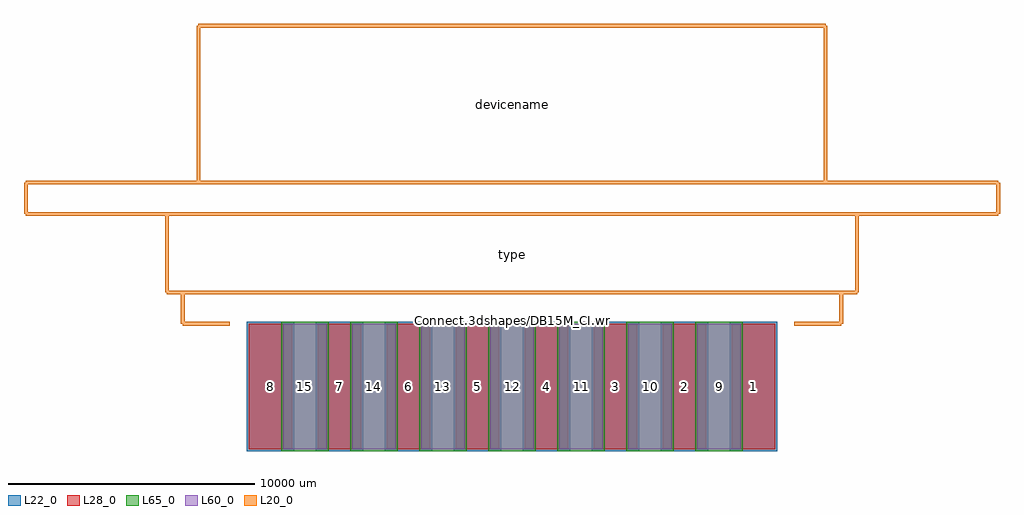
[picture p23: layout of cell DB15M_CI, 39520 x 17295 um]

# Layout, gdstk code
import gdstk
lib = gdstk.Library(unit=1e-6, precision=1e-09)
def R(c, l, rs):  # rectangles x0, y0, x1, y1
    for r in rs: c.add(gdstk.rectangle(r[:2], r[2:], *l))
def A(c, l, x, y, w, h, nx, ny, dx, dy):  # array of equal rectangles
    R(c, l, [(x+i*dx, y+j*dy, x+i*dx+w, y+j*dy+h) for i in range(nx) for j in range(ny)])
L20_0 = (20, 0)
L22_0 = (22, 0)
L28_0 = (28, 0)
L60_0 = (60, 0)
L65_0 = (65, 0)

db15m_ci = lib.new_cell('DB15M_CI')
A(db15m_ci, L22_0, -10743, -5282, 1928, 5230, 8, 1, 2794, 0)
A(db15m_ci, L28_0, -10668, -5207, 1778, 5080, 8, 1, 2794, 0)
A(db15m_ci, L60_0, -9271, -5207, 1778, 5080, 7, 1, 2794, 0)
A(db15m_ci, L65_0, -9346, -5282, 1928, 5230, 7, 1, 2794, 0)
db15m_ci.add(gdstk.FlexPath([(-13335,-127),(-11430,-127)], 149.998, ends="flush", simple_path=True, layer=20, datatype=0))  # L20_0
db15m_ci.add(gdstk.FlexPath([(-13335,1143),(-13335,-127)], 149.998, ends="flush", simple_path=True, layer=20, datatype=0))  # L20_0
db15m_ci.add(gdstk.FlexPath([(13335,1143),(-13335,1143)], 149.998, ends="flush", simple_path=True, layer=20, datatype=0))  # L20_0
db15m_ci.add(gdstk.FlexPath([(13335,-127),(13335,1143)], 149.998, ends="flush", simple_path=True, layer=20, datatype=0))  # L20_0
db15m_ci.add(gdstk.FlexPath([(11430,-127),(13335,-127)], 149.998, ends="flush", simple_path=True, layer=20, datatype=0))  # L20_0
db15m_ci.add(gdstk.FlexPath([(-13970,1143),(-13335,1143)], 149.998, ends="flush", simple_path=True, layer=20, datatype=0))  # L20_0
db15m_ci.add(gdstk.FlexPath([(-13970,4318),(-13970,1143)], 149.998, ends="flush", simple_path=True, layer=20, datatype=0))  # L20_0
db15m_ci.add(gdstk.FlexPath([(13970,4318),(-13970,4318)], 149.998, ends="flush", simple_path=True, layer=20, datatype=0))  # L20_0
db15m_ci.add(gdstk.FlexPath([(13970,1143),(13970,4318)], 149.998, ends="flush", simple_path=True, layer=20, datatype=0))  # L20_0
db15m_ci.add(gdstk.FlexPath([(13335,1143),(13970,1143)], 149.998, ends="flush", simple_path=True, layer=20, datatype=0))  # L20_0
db15m_ci.add(gdstk.FlexPath([(-19685,4318),(-13970,4318)], 149.998, ends="flush", simple_path=True, layer=20, datatype=0))  # L20_0
db15m_ci.add(gdstk.FlexPath([(-19685,5588),(-19685,4318)], 149.998, ends="flush", simple_path=True, layer=20, datatype=0))  # L20_0
db15m_ci.add(gdstk.FlexPath([(19685,5588),(-19685,5588)], 149.998, ends="flush", simple_path=True, layer=20, datatype=0))  # L20_0
db15m_ci.add(gdstk.FlexPath([(19685,4318),(19685,5588)], 149.998, ends="flush", simple_path=True, layer=20, datatype=0))  # L20_0
db15m_ci.add(gdstk.FlexPath([(13970,4318),(19685,4318)], 149.998, ends="flush", simple_path=True, layer=20, datatype=0))  # L20_0
db15m_ci.add(gdstk.FlexPath([(-12700,11938),(-12700,5588)], 149.998, ends="flush", simple_path=True, layer=20, datatype=0))  # L20_0
db15m_ci.add(gdstk.FlexPath([(12700,11938),(-12700,11938)], 149.998, ends="flush", simple_path=True, layer=20, datatype=0))  # L20_0
db15m_ci.add(gdstk.FlexPath([(12700,5588),(12700,11938)], 149.998, ends="flush", simple_path=True, layer=20, datatype=0))  # L20_0
db15m_ci.add(gdstk.Label('Connect.3dshapes/DB15M_CI.wrl', (0,0), layer=12, texttype=0))
db15m_ci.add(gdstk.Label('15', (-8382,-2667), layer=60, texttype=0))
db15m_ci.add(gdstk.Label('14', (-5588,-2667), layer=60, texttype=0))
db15m_ci.add(gdstk.Label('13', (-2794,-2667), layer=60, texttype=0))
db15m_ci.add(gdstk.Label('12', (0,-2667), layer=60, texttype=0))
db15m_ci.add(gdstk.Label('11', (2794,-2667), layer=60, texttype=0))
db15m_ci.add(gdstk.Label('10', (5588,-2667), layer=60, texttype=0))
db15m_ci.add(gdstk.Label('9', (8382,-2667), layer=60, texttype=0))
db15m_ci.add(gdstk.Label('8', (-9779,-2667), layer=28, texttype=0))
db15m_ci.add(gdstk.Label('7', (-6985,-2667), layer=28, texttype=0))
db15m_ci.add(gdstk.Label('6', (-4191,-2667), layer=28, texttype=0))
db15m_ci.add(gdstk.Label('5', (-1397,-2667), layer=28, texttype=0))
db15m_ci.add(gdstk.Label('1', (9779,-2667), layer=28, texttype=0))
db15m_ci.add(gdstk.Label('2', (6985,-2667), layer=28, texttype=0))
db15m_ci.add(gdstk.Label('3', (4191,-2667), layer=28, texttype=0))
db15m_ci.add(gdstk.Label('4', (1397,-2667), layer=28, texttype=0))
db15m_ci.add(gdstk.Label('type', (0,2667), layer=9, texttype=0))
db15m_ci.add(gdstk.Label('devicename', (0,8763), layer=9, texttype=0))

lib.write_gds('DB15M_CI.gds')
